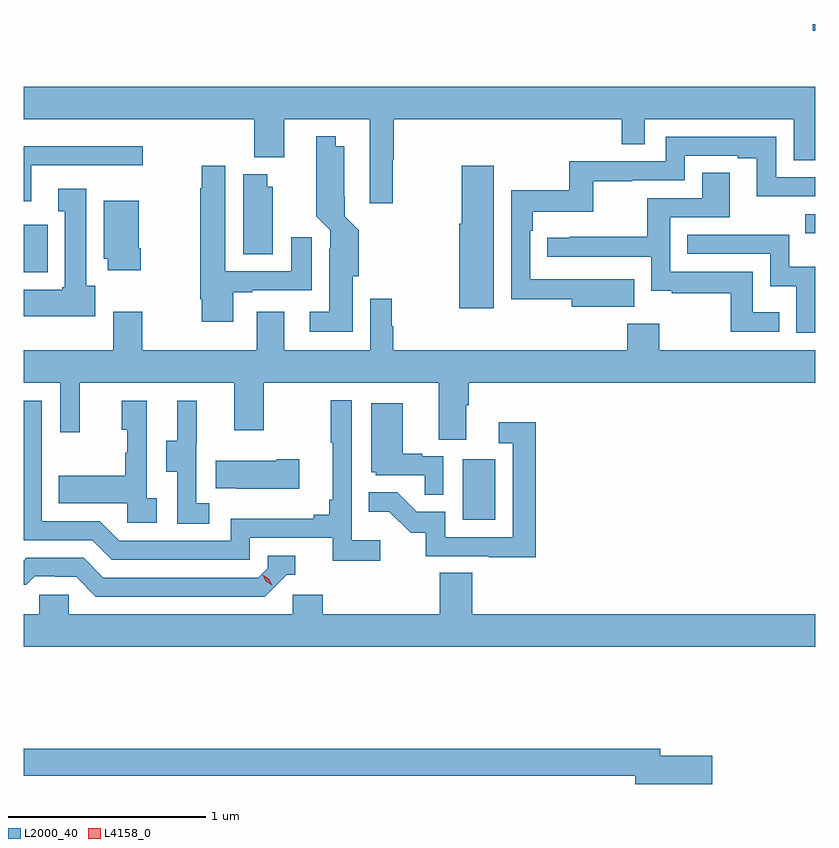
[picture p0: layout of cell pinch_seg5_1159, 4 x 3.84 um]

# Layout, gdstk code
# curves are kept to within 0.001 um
import gdstk
lib = gdstk.Library(unit=1e-6, precision=1e-09)
def R(c, l, rs):  # rectangles x0, y0, x1, y1
    for r in rs: c.add(gdstk.rectangle(r[:2], r[2:], *l))
def P(c, l, *ps):  # polygons
    for p in ps: c.add(gdstk.Polygon(p, *l))
L2000_40 = (2000, 40)
L4158_0 = (4158, 0)

pinch_seg5_1159 = lib.new_cell('pinch_seg5_1159')
R(pinch_seg5_1159, L2000_40, [(880.868,837.42,881.032,837.727), (878.649,838.67,878.77,838.912), (882.597,838.868,882.649,838.965), (882.636,839.891,882.649,839.925)])
P(pinch_seg5_1159, L2000_40, [(880.515,839.24),(880.52,839.24),(880.52,839.444),(881.671,839.444),(881.671,839.317),(881.787,839.317),(881.787,839.444),(882.539,839.444),(882.539,839.236),(882.649,839.236),(882.649,839.608),(878.649,839.608),(878.649,839.444),(879.815,839.444),(879.815,839.252),(879.967,839.252),(879.967,839.444),(880.397,839.444),(880.397,839.019),(880.515,839.019)],
  [(880.312,838.65),(880.343,838.65),(880.343,838.882),(880.271,838.954),(880.27,839.308),(880.225,839.308),(880.225,839.359),(880.128,839.359),(880.127,838.954),(880.197,838.884),(880.197,838.79),(880.193,838.79),(880.193,838.471),(880.095,838.471),(880.095,838.37),(880.312,838.37)],
  [(881.735,838.636),(881.521,838.636),(881.521,838.635),(881.208,838.635),(881.208,838.88),(881.222,838.88),(881.222,838.976),(881.527,838.976),(881.527,839.131),(881.723,839.131),(881.723,839.136),(881.988,839.136),(881.988,839.259),(882.257,839.259),(882.257,839.247),(882.353,839.247),(882.353,839.054),(882.558,839.054),(882.558,839.055),(882.649,839.055),(882.649,839.151),(882.45,839.151),(882.45,839.355),(881.892,839.355),(881.892,839.232),(881.406,839.232),(881.406,839.086),(881.112,839.086),(881.112,838.534),(881.417,838.534),(881.417,838.496),(881.735,838.496)],
  [(878.689,839.211),(879.25,839.211),(879.25,839.308),(878.649,839.308),(878.649,839.03),(878.689,839.03)],
  [(879.709,838.569),(879.805,838.569),(879.805,838.581),(880.105,838.581),(880.105,838.849),(880.001,838.849),(880.001,838.677),(879.667,838.677),(879.667,839.209),(879.548,839.209),(879.548,839.096),(879.541,839.096),(879.541,838.534),(879.548,838.534),(879.548,838.422),(879.709,838.422)],
  [(881.023,839.209),(880.862,839.209),(880.862,838.917),(880.85,838.917),(880.85,838.488),(881.023,838.488)],
  [(882.467,838.468),(882.333,838.468),(882.333,838.674),(881.916,838.674),(881.916,838.95),(882.217,838.95),(882.217,839.174),(882.077,839.174),(882.077,839.046),(881.8,839.046),(881.8,838.85),(881.407,838.85),(881.407,838.845),(881.295,838.845),(881.295,838.749),(881.82,838.749),(881.82,838.577),(881.923,838.577),(881.923,838.566),(882.222,838.566),(882.222,838.371),(882.467,838.371)],
  [(879.907,839.103),(879.88,839.103),(879.88,839.167),(879.758,839.167),(879.758,838.762),(879.907,838.762)],
  [(879.01,838.602),(878.965,838.602),(878.965,839.092),(878.825,839.092),(878.825,838.979),(878.858,838.979),(878.858,838.596),(878.845,838.596),(878.845,838.582),(878.649,838.582),(878.649,838.448),(879.01,838.448)],
  [(879.24,838.792),(879.232,838.792),(879.232,839.032),(879.053,839.032),(879.053,838.74),(879.074,838.74),(879.074,838.68),(879.24,838.68)],
  [(882.649,838.699),(882.516,838.699),(882.516,838.86),(882.001,838.86),(882.001,838.764),(882.42,838.764),(882.42,838.601),(882.552,838.601),(882.552,838.365),(882.649,838.365)],
  [(880.885,838),(880.898,838),(880.898,838.112),(882.649,838.112),(882.649,838.276),(881.859,838.276),(881.859,838.411),(881.699,838.411),(881.699,838.276),(880.517,838.276),(880.517,838.398),(880.51,838.398),(880.51,838.537),(880.401,838.537),(880.401,838.276),(879.967,838.276),(879.967,838.471),(879.827,838.471),(879.827,838.276),(879.249,838.276),(879.249,838.471),(879.101,838.471),(879.101,838.276),(878.649,838.276),(878.649,838.112),(878.835,838.112),(878.835,837.864),(878.933,837.864),(878.933,838.112),(879.713,838.112),(879.713,837.873),(879.861,837.873),(879.861,838.112),(880.745,838.112),(880.745,837.826),(880.885,837.826)],
  [(880.45,837.316),(880.308,837.316),(880.308,838.024),(880.2,838.024),(880.2,837.811),(880.211,837.811),(880.211,837.523),(880.192,837.523),(880.192,837.446),(880.115,837.446),(880.115,837.427),(879.696,837.427),(879.696,837.315),(879.132,837.315),(879.033,837.414),(878.742,837.414),(878.742,838.023),(878.649,838.023),(878.649,837.318),(878.996,837.318),(879.095,837.219),(879.792,837.219),(879.792,837.33),(880.211,837.33),(880.211,837.214),(880.45,837.214)],
  [(879.322,837.53),(879.27,837.53),(879.27,838.021),(879.146,838.021),(879.146,837.876),(879.172,837.876),(879.172,837.758),(879.162,837.758),(879.162,837.643),(878.827,837.643),(878.827,837.503),(879.174,837.503),(879.174,837.405),(879.322,837.405)],
  [(879.586,837.503),(879.522,837.503),(879.522,837.807),(879.524,837.807),(879.524,838.021),(879.425,838.021),(879.425,837.819),(879.371,837.819),(879.371,837.664),(879.426,837.664),(879.426,837.4),(879.586,837.4)],
  [(880.77,837.741),(880.664,837.741),(880.664,837.754),(880.564,837.754),(880.564,838.009),(880.406,838.009),(880.406,837.66),(880.428,837.66),(880.428,837.645),(880.675,837.645),(880.675,837.547),(880.77,837.547)],
  [(881.237,837.913),(881.049,837.913),(881.049,837.807),(881.121,837.807),(881.121,837.333),(880.779,837.333),(880.779,837.462),(880.635,837.462),(880.537,837.56),(880.393,837.56),(880.393,837.461),(880.497,837.461),(880.604,837.354),(880.681,837.354),(880.681,837.237),(880.999,837.237),(880.999,837.232),(881.237,837.232)],
  [(880.042,837.726),(879.929,837.726),(879.929,837.718),(879.619,837.718),(879.619,837.581),(879.727,837.581),(879.727,837.578),(880.042,837.578)],
  [(879.978,837.144),(880.021,837.144),(880.021,837.24),(879.882,837.24),(879.882,837.177),(879.834,837.129),(879.051,837.129),(878.952,837.228),(878.663,837.228),(878.649,837.214),(878.649,837.093),(878.663,837.093),(878.705,837.135),(878.808,837.135),(878.808,837.132),(878.915,837.132),(879.014,837.033),(879.867,837.033)],
  [(882.649,836.944),(880.916,836.944),(880.916,837.152),(880.751,837.152),(880.751,836.944),(880.16,836.944),(880.16,837.042),(880.008,837.042),(880.008,836.944),(878.877,836.944),(878.877,837.042),(878.727,837.042),(878.727,836.944),(878.649,836.944),(878.649,836.78),(882.649,836.78)],
  [(882.127,836.228),(881.866,836.228),(881.866,836.264),(878.649,836.264),(878.649,836.128),(881.738,836.128),(881.738,836.086),(882.127,836.086)])
P(pinch_seg5_1159, L4158_0, [(879.903,837.089),(879.872,837.109),(879.856,837.142),(879.856,837.142),(879.856,837.142),(879.887,837.122),(879.904,837.089),(879.904,837.089)])

lib.write_gds('pinch_seg5_1159.gds')
